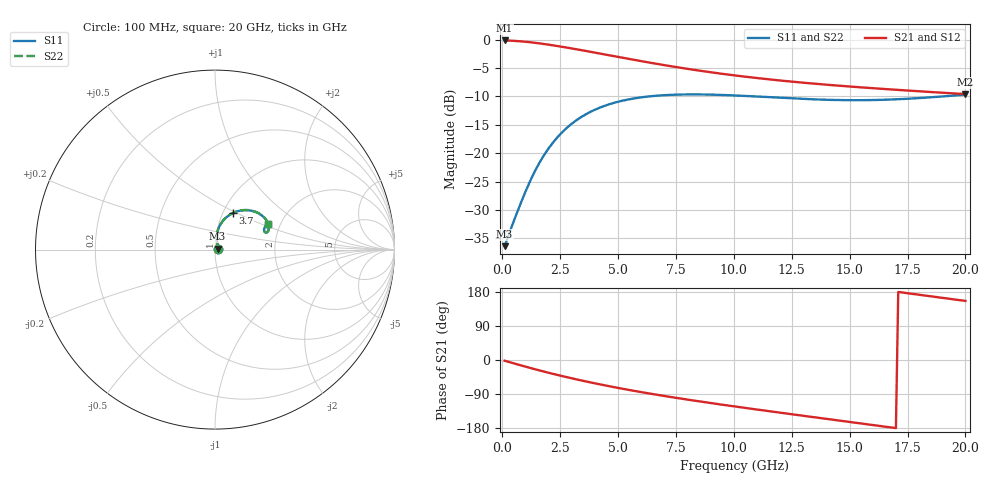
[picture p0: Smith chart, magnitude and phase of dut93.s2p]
! Touchstone file exported from HFSS 2024.1.0
!  File:  C:/UserFiles/LocalFiles/RDL_TSV_Batchsim/temp_RDL_TSV_93_1779417773.aedt
!  Generated:  11:01:05 AM May 22, 2026
!  Design:  RDL_TSV
!  Project:  temp_RDL_TSV_93_1779417773
!  Setup:  Setup1
!  Solution:  Sweep
! Variables:
!  dtsv = 8.62um
!  hbump = 3um
!  htsv = 68.79um
!  ldown = 412.54um
!  lrdl = 440.92um
!  p = 40
!  p1 = 58.24um
!  rhole = 10um
!  subl = 3001.3um
!  t = 450um
!  tdown = 4.26um
!  trdl = 3.45um
!  viad = 10um
!  wdown = 16um
!  wrdl = 25.75um
!  xbump = 18um
# GHz S MA R 50.000000
! Terminal data exported
! Port[1] = TM1_1_T1
! Port[2] = TM1_4_T1
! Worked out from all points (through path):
!   200 points, 100 MHz to 20 GHz, reference 50 ohm
!   highest |S21| = -0.13 dB at 100 MHz (marker M1); lowest = -9.6 dB at 20 GHz (marker M2)
!   group delay of S21, straight-line fit = 26.5 ps
!   lowest |S11| = -36.4 dB at 100 MHz (marker M3), VSWR 1.03, Z = 51.5 + j0.474 ohm
!   |S11| at or under -10 dB: start of sweep to 6.32 GHz; 10.93 GHz to 19.01 GHz (8.079 GHz wide, 54 % of centre)
!   |S22| runs from -36.4 to -9.6 dB; largest |S21 - S12| = 1.6e-13
!   S11 on the Smith chart (normalised r, x): 100 MHz: 1.03, +0.01; 3.7 GHz: 1.11, +0.47; 20 GHz: 1.73, +0.55
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0.1  0.01515 17.7  0.9852 -1.8  0.9852 -1.8  0.01515 17.7
! Gamma 0 0 0 0
! Port Impedance 50 0 50 0
0.5  0.02535 55.2  0.9775 -8.9  0.9775 -8.9  0.02534 55.3
1  0.04576 76.1  0.9597 -17.6  0.9597 -17.6  0.04577 76.1
1.4  0.06884 81.8  0.9401 -24.2  0.9401 -24.2  0.06889 81.9
1.7  0.0889 82.5  0.9231 -29.0  0.9231 -29.0  0.08898 82.6
2.1  0.1176 80.7  0.8982 -35.2  0.8982 -35.2  0.1177 80.8
2.5  0.1468 77.3  0.8719 -41.2  0.8719 -41.2  0.147 77.4
3  0.1818 72.0  0.838 -48.3  0.838 -48.3  0.1822 72.1
3.5  0.2137 66.4  0.8037 -55.1  0.8037 -55.1  0.2141 66.5
3.7  0.2254 64.2  0.7901 -57.8  0.7901 -57.8  0.2258 64.3
4.3  0.2561 57.6  0.7501 -65.4  0.7501 -65.4  0.2566 57.7
5  0.284 50.6  0.7056 -73.7  0.7056 -73.7  0.2846 50.7
5.9  0.3085 42.8  0.653 -83.7  0.653 -83.7  0.3093 42.9
6.8  0.3226 36.2  0.6064 -93.0  0.6064 -93.0  0.3234 36.3
8.3  0.3296 27.8  0.5418 -107.3  0.5418 -107.3  0.3305 27.9
10.1  0.3223 21.5  0.4829 -123.2  0.4829 -123.2  0.3232 21.6
11.7  0.3102 18.8  0.4434 -136.6  0.4434 -136.6  0.311 18.9
13.4  0.2984 18.5  0.4111 -150.5  0.4111 -150.5  0.2993 18.6
15  0.2931 20.1  0.3868 -163.5  0.3868 -163.5  0.2939 20.2
16.7  0.2966 22.7  0.3655 -177.3  0.3655 -177.3  0.2975 22.8
18.3  0.3087 24.8  0.3481 169.7  0.3481 169.7  0.3096 24.9
20  0.3282 25.9  0.3316 155.9  0.3316 155.9  0.3291 26.0
